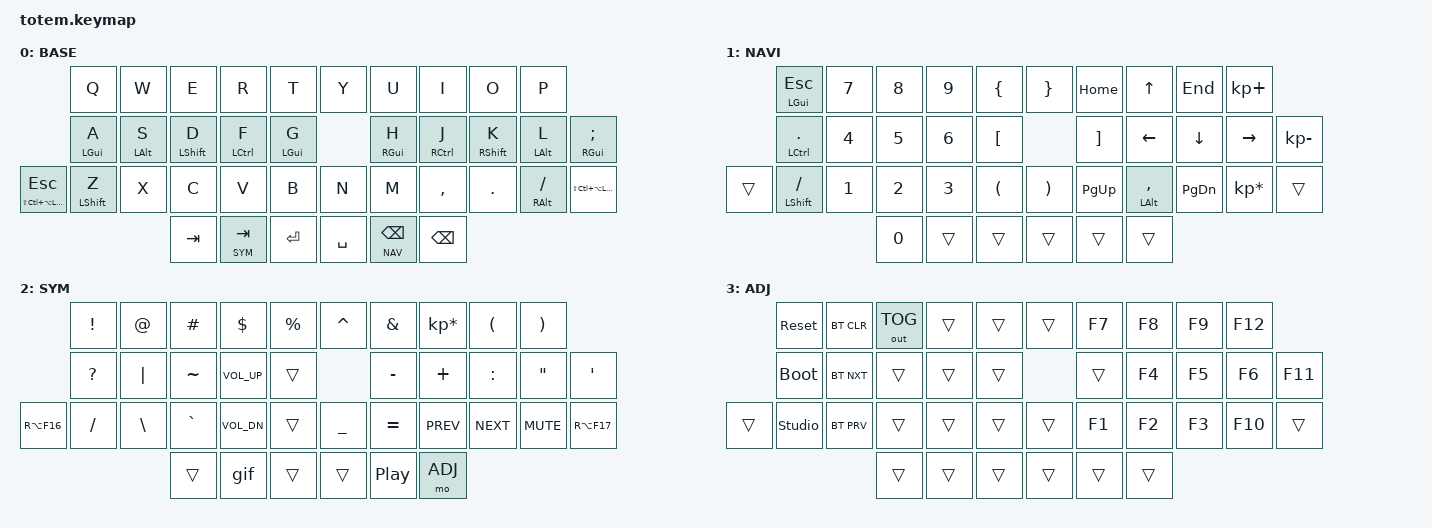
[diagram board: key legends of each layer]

       

#include <behaviors.dtsi>
#include <dt-bindings/zmk/keys.h>
#include <dt-bindings/zmk/bt.h>
#include <dt-bindings/zmk/outputs.h>

#define BASE 0
#define NAV  1
#define SYM  2
#define ADJ  3
// Hyper key shortcut
#define LHYP LS(LC(LA(LGUI)))

#define KEYS_L 0 1 2 3 4 10 11 12 13 14 20 21 22 23 24 25
#define KEYS_R 5 6 7 8 9 15 16 17 18 19 26 27 28 29 30 31
#define THUMBS 32 33 34 35 36 37

&mt {
  quick-tap-ms = <100>;
  global-quick-tap;
  flavor = "tap-preferred";
  tapping-term-ms = <170>;
};

// For layer-tap, to handle repeated taps (e.g. hold BSPC):
&lt {
    quick-tap-ms = <200>;
};
//&mt {
//    quick-tap-ms = <200>;
//};

&sk {
    release-after-ms = <2000>;
};


/ {
    behaviors {
        mtt:mod_tap_to {
            compatible = "zmk,behavior-hold-tap";
            label = "MOD_TAP_TO";
            #binding-cells = <2>;
            flavor = "balanced";
            tapping-term-ms = <200>;
            quick-tap-ms = <0>;
            bindings = <&kp>, <&to>;
        };
        mlt:momentary_layer_tap_to {
            compatible = "zmk,behavior-hold-tap";
            label="MOMENTARY_LAYER_TAP_TO";
            #binding-cells = <2>;
            flavor = "balanced";
            tapping-term-ms = <200>;
            quick-tap-ms = <0>;
            bindings = <&mo>, <&to>;
        };
        hml:home_row_mod_left {
            compatible = "zmk,behavior-hold-tap";
            flavor = "balanced";
            #binding-cells = <2>;
            tapping-term-ms = <280>;
            quick-tap-ms = <200>;
            require-prior-idle-ms = <120>;
            bindings = <&kp>, <&kp>;
            hold-trigger-key-positions = <KEYS_R THUMBS>;
            hold-trigger-on-release;
        };
        hmr:home_row_mod_right {
            compatible = "zmk,behavior-hold-tap";
            flavor = "balanced";
            #binding-cells = <2>;
            tapping-term-ms = <280>;
            quick-tap-ms = <200>;
            require-prior-idle-ms = <120>;
            bindings = <&kp>, <&kp>;
            hold-trigger-key-positions = <KEYS_L THUMBS>;
            hold-trigger-on-release;
        };

        nwin: swapper {
          compatible = "zmk,behavior-tri-state";
          #binding-cells = <0>;
          bindings = <&kt LGUI>, <&kp TAB>, <&kt LGUI>;
          ignored-key-positions = <KEYS_L>;
        };

    };
    combos {
            compatible = "zmk,combos";
            combo_esc {
                timeout-ms = <50>;
                key-positions = <0 1>;
                bindings = <&kp ESC>;
            };
    };

    macros {
        gif: gif {
            label = "giphy";
            compatible = "zmk,behavior-macro";
            #binding-cells = <0>;
            bindings
                = <&macro_press &kp LSHFT>
                , <&macro_tap &kp N2>
                , <&macro_release &kp LSHFT>
                , <&macro_tap &kp G &kp I &kp F>
                ;
        };
    };

        keymap {
                compatible = "zmk,keymap";
// ▄▄▄▄▄▄▄▄▄▄▄▄▄▄▄▄▄▄▄▄▄▄▄▄▄▄▄▄▄▄▄▄▄▄▄▄▄▄▄▄▄▄▄▄▄▄▄▄▄▄▄▄▄▄▄▄▄▄▄▄▄▄▄▄▄▄▄▄▄▄▄▄▄▄▄▄▄▄▄▄▄▄▄▄▄▄▄▄▄▄▄▄▄▄▄▄▄▄▄▄▄▄▄▄▄▄▄▄▄▄▄▄▄▄▄▄▄▄▄▄▄▄▄▄▄▄▄▄▄▄▄▄▄▄▄▄▄▄▄▄▄▄▄▄▄▄▄▄▄

                base_layer {
// ┏━━━━━━━━━━━━━━━━━━━━━━━━━━━━━━━━━━━━━━━┓
label= "BASE"                              ;
// ┗━━━━━━━━━━━━━━━━━━━━━━━━━━━━━━━━━━━━━━━┛
//             ┏━━━━━━━━━━━┳━━━━━━━━━━━┳━━━━━━━━━━━┳━━━━━━━━━━━┳━━━━━━━━━━━┓   ┏━━━━━━━━━━━┳━━━━━━━━━━━┳━━━━━━━━━━━┳━━━━━━━━━━━┳━━━━━━━━━━━┓
//             ┃     Q     ┃     W     ┃     F     ┃     P     ┃     G     ┃   ┃     J     ┃     L     ┃     U     ┃     Y     ┃     ;     ┃
//             ┣━━━━━━━━━━━╋━━━━━━━━━━━╋━━━━━━━━━━━╋━━━━━━━━━━━╋━━━━━━━━━━━┫   ┣━━━━━━━━━━━╋━━━━━━━━━━━╋━━━━━━━━━━━╋━━━━━━━━━━━╋━━━━━━━━━━━┫
//             ┃     A     ┃     R     ┃     S     ┃     T     ┃     D     ┃   ┃     H     ┃     N     ┃     E     ┃     I     ┃     O     ┃
// ┏━━━━━━━━━━━╋━━━━━━━━━━━╋━━━━━━━━━━━╋━━━━━━━━━━━╋━━━━━━━━━━━╋━━━━━━━━━━━┫   ┣━━━━━━━━━━━╋━━━━━━━━━━━╋━━━━━━━━━━━╋━━━━━━━━━━━╋━━━━━━━━━━━╋━━━━━━━━━━━┓
// ┃           ┃     Z     ┃     X     ┃     C     ┃     V     ┃     B     ┃   ┃     K     ┃     M     ┃     ,     ┃     .     ┃     /     ┃           ┃
// ┗━━━━━━━━━━━┻━━━━━━━━━━━┻━━━━━━━━━━━╋━━━━━━━━━━━╋━━━━━━━━━━━╋━━━━━━━━━━━┫   ┣━━━━━━━━━━━╋━━━━━━━━━━━╋━━━━━━━━━━━╋━━━━━━━━━━━┻━━━━━━━━━━━┻━━━━━━━━━━━┛
//                                     ┃           ┃    TAB    ┃    SPC    ┃   ┃   ENTER   ┃   BSPC    ┃           ┃
//                                     ┗━━━━━━━━━━━┻━━━━━━━━━━━┻━━━━━━━━━━━┛   ┗━━━━━━━━━━━┻━━━━━━━━━━━┻━━━━━━━━━━━┛
 bindings = <
// ╷           ╷           ╷           ╷           ╷           ╷           ╷   ╷           ╷           ╷           ╷           ╷           ╷           ╷

                &kp Q       &kp W       &kp E       &kp R       &kp T           &kp Y       &kp U       &kp I       &kp O       &kp P
                &hml LGUI A  &hml LALT S  &hml LSHFT D &hml LCTRL F &hml LGUI G      &hmr RGUI H  &hmr RCTRL J &hmr RSHFT K &hmr LALT L  &hmr RGUI SEMI
  &mt LHYP ESC  &mt LSHFT Z &kp X       &kp C       &kp V       &kp B           &kp N       &kp M       &kp COMMA   &kp DOT     &mt RALT FSLH    &kp LHYP
                                        &kp TAB     &lt SYM TAB &kp RET         &kp SPACE   &lt NAV BSPC    &kp BSPC
                        >;
                };

// ▄▄▄▄▄▄▄▄▄▄▄▄▄▄▄▄▄▄▄▄▄▄▄▄▄▄▄▄▄▄▄▄▄▄▄▄▄▄▄▄▄▄▄▄▄▄▄▄▄▄▄▄▄▄▄▄▄▄▄▄▄▄▄▄▄▄▄▄▄▄▄▄▄▄▄▄▄▄▄▄▄▄▄▄▄▄▄▄▄▄▄▄▄▄▄▄▄▄▄▄▄▄▄▄▄▄▄▄▄▄▄▄▄▄▄▄▄▄▄▄▄▄▄▄▄▄▄▄▄▄▄▄▄▄▄▄▄▄▄▄▄▄▄▄▄▄▄▄▄


                nav_layer {
// ┏━━━━━━━━━━━━━━━━━━━━━━━━━━━━━━━━━━━━━━━┓
label= "NAVI"                              ;
// ┗━━━━━━━━━━━━━━━━━━━━━━━━━━━━━━━━━━━━━━━┛
//             ┏━━━━━━━━━━━┳━━━━━━━━━━━┳━━━━━━━━━━━┳━━━━━━━━━━━┳━━━━━━━━━━━┓   ┏━━━━━━━━━━━┳━━━━━━━━━━━┳━━━━━━━━━━━┳━━━━━━━━━━━┳━━━━━━━━━━━┓
//             ┃   ESC     ┃    7      ┃      8    ┃     9     ┃     {     ┃   ┃     }     ┃   HOME    ┃     UP    ┃    END    ┃     +     ┃
//             ┣━━━━━━━━━━━╋━━━━━━━━━━━╋━━━━━━━━━━━╋━━━━━━━━━━━╋━━━━━━━━━━━┫   ┣━━━━━━━━━━━╋━━━━━━━━━━━╋━━━━━━━━━━━╋━━━━━━━━━━━╋━━━━━━━━━━━┫
//             ┃   CTRL    ┃    4      ┃      5    ┃     6     ┃     [     ┃   ┃     ]     ┃   LEFT    ┃   DOWN    ┃   RIGHT   ┃     -     ┃
// ┏━━━━━━━━━━━╋━━━━━━━━━━━╋━━━━━━━━━━━╋━━━━━━━━━━━╋━━━━━━━━━━━╋━━━━━━━━━━━┫   ┣━━━━━━━━━━━╋━━━━━━━━━━━╋━━━━━━━━━━━╋━━━━━━━━━━━╋━━━━━━━━━━━╋━━━━━━━━━━━┓
// ┃           ┃   SHIFT   ┃    1      ┃      2    ┃     3     ┃     (     ┃   ┃     )     ┃   P UP    ┃     2     ┃   P DN    ┃     *     ┃           ┃
// ┗━━━━━━━━━━━┻━━━━━━━━━━━┻━━━━━━━━━━━╋━━━━━━━━━━━╋━━━━━━━━━━━╋━━━━━━━━━━━┫   ┣━━━━━━━━━━━╋━━━━━━━━━━━╋━━━━━━━━━━━╋━━━━━━━━━━━┻━━━━━━━━━━━┻━━━━━━━━━━━┛
//                                     ┃      0    ┃    TAB    ┃    RET    ┃   ┃           ┃           ┃           ┃
//                                     ┗━━━━━━━━━━━┻━━━━━━━━━━━┻━━━━━━━━━━━┛   ┗━━━━━━━━━━━┻━━━━━━━━━━━┻━━━━━━━━━━━┛
 bindings = <
// ╷           ╷           ╷           ╷           ╷           ╷           ╷   ╷           ╷           ╷           ╷           ╷           ╷           ╷

                &mt LGUI ESC     &kp N7   &kp N8    &kp N9   &kp LBRC        &kp RBRC    &kp HOME   &kp UP   &kp END   &kp KP_PLUS
                &mt LCTRL DOT  &kp N4   &kp N5    &kp N6   &kp LBKT        &kp RBKT    &kp LEFT    &kp DOWN &kp RIGHT   &kp KP_MINUS
    &trans      &mt LSHFT FSLH    &kp N1   &kp N2    &kp N3   &kp LPAR        &kp RPAR    &kp PG_UP   &mt LALT COMMA   &kp PG_DN   &kp KP_MULTIPLY &trans      
                                        &kp N0      &trans      &trans        &trans     &trans   &trans      
                        >;
                };

// ▄▄▄▄▄▄▄▄▄▄▄▄▄▄▄▄▄▄▄▄▄▄▄▄▄▄▄▄▄▄▄▄▄▄▄▄▄▄▄▄▄▄▄▄▄▄▄▄▄▄▄▄▄▄▄▄▄▄▄▄▄▄▄▄▄▄▄▄▄▄▄▄▄▄▄▄▄▄▄▄▄▄▄▄▄▄▄▄▄▄▄▄▄▄▄▄▄▄▄▄▄▄▄▄▄▄▄▄▄▄▄▄▄▄▄▄▄▄▄▄▄▄▄▄▄▄▄▄▄▄▄▄▄▄▄▄▄▄▄▄▄▄▄▄▄▄▄▄▄


                sim_layer {
// ┏━━━━━━━━━━━━━━━━━━━━━━━━━━━━━━━━━━━━━━━┓
label= "SYM"                               ;
// ┗━━━━━━━━━━━━━━━━━━━━━━━━━━━━━━━━━━━━━━━┛
//             ┏━━━━━━━━━━━┳━━━━━━━━━━━┳━━━━━━━━━━━┳━━━━━━━━━━━┳━━━━━━━━━━━┓   ┏━━━━━━━━━━━┳━━━━━━━━━━━┳━━━━━━━━━━━┳━━━━━━━━━━━┳━━━━━━━━━━━┓
//             ┃     !     ┃     @     ┃     #     ┃     $     ┃     %     ┃   ┃     ˆ     ┃     &     ┃     Ü     ┃     '     ┃     "     ┃
//             ┣━━━━━━━━━━━╋━━━━━━━━━━━╋━━━━━━━━━━━╋━━━━━━━━━━━╋━━━━━━━━━━━┫   ┣━━━━━━━━━━━╋━━━━━━━━━━━╋━━━━━━━━━━━╋━━━━━━━━━━━╋━━━━━━━━━━━┫
//             ┃     Ä     ┃           ┃    SZ     ┃           ┃           ┃   ┃   MUTE    ┃   YEN     ┃   EURO    ┃  POUND    ┃     Ö     ┃
// ┏━━━━━━━━━━━╋━━━━━━━━━━━╋━━━━━━━━━━━╋━━━━━━━━━━━╋━━━━━━━━━━━╋━━━━━━━━━━━┫   ┣━━━━━━━━━━━╋━━━━━━━━━━━╋━━━━━━━━━━━╋━━━━━━━━━━━╋━━━━━━━━━━━╋━━━━━━━━━━━┓
// ┃           ┃  EMAIL1   ┃  EMAIL2   ┃           ┃           ┃           ┃   ┃   VOL-    ┃   VOL+    ┃   LAST    ┃   NEXT    ┃     \     ┃           ┃
// ┗━━━━━━━━━━━┻━━━━━━━━━━━┻━━━━━━━━━━━╋━━━━━━━━━━━╋━━━━━━━━━━━╋━━━━━━━━━━━┫   ┣━━━━━━━━━━━╋━━━━━━━━━━━╋━━━━━━━━━━━╋━━━━━━━━━━━┻━━━━━━━━━━━┻━━━━━━━━━━━┛
//                                     ┃           ┃    GIF    ┃    ADJ    ┃   ┃           ┃           ┃           ┃
//                                     ┗━━━━━━━━━━━┻━━━━━━━━━━━┻━━━━━━━━━━━┛   ┗━━━━━━━━━━━┻━━━━━━━━━━━┻━━━━━━━━━━━┛
 bindings = <
// ╷           ╷           ╷           ╷           ╷           ╷           ╷   ╷           ╷           ╷           ╷           ╷           ╷           ╷

                &kp EXCL    &kp AT      &kp HASH    &kp DLLR    &kp PRCNT       &kp CARET   &kp AMPS    &kp KP_MULTIPLY  &kp LPAR     &kp RPAR       
                &kp QMARK   &kp PIPE    &kp TILDE   &kp K_VOL_UP  &trans          &kp MINUS   &kp PLUS  &kp COLON &kp DQT   &kp SQT 
    &kp RA(F16) &kp FSLH &kp BSLH    &kp GRAVE   &kp K_VOL_DN     &trans             &kp UNDER   &kp EQUAL &kp C_PREV &kp C_NEXT  &kp K_MUTE    &kp RA(F17)      
                                        &trans      &gif        &trans          &trans       &kp C_PP    &mo ADJ      
                        >;
                };

// ▄▄▄▄▄▄▄▄▄▄▄▄▄▄▄▄▄▄▄▄▄▄▄▄▄▄▄▄▄▄▄▄▄▄▄▄▄▄▄▄▄▄▄▄▄▄▄▄▄▄▄▄▄▄▄▄▄▄▄▄▄▄▄▄▄▄▄▄▄▄▄▄▄▄▄▄▄▄▄▄▄▄▄▄▄▄▄▄▄▄▄▄▄▄▄▄▄▄▄▄▄▄▄▄▄▄▄▄▄▄▄▄▄▄▄▄▄▄▄▄▄▄▄▄▄▄▄▄▄▄▄▄▄▄▄▄▄▄▄▄▄▄▄▄▄▄▄▄▄


                adjust_layer {
// ┏━━━━━━━━━━━━━━━━━━━━━━━━━━━━━━━━━━━━━━━┓
label= "ADJ"                               ;
// ┗━━━━━━━━━━━━━━━━━━━━━━━━━━━━━━━━━━━━━━━┛
//             ┏━━━━━━━━━━━┳━━━━━━━━━━━┳━━━━━━━━━━━┳━━━━━━━━━━━┳━━━━━━━━━━━┓   ┏━━━━━━━━━━━┳━━━━━━━━━━━┳━━━━━━━━━━━┳━━━━━━━━━━━┳━━━━━━━━━━━┓
//             ┃   RESET   ┃ BT CLEAR  ┃  OUT TOG  ┃           ┃           ┃   ┃           ┃    F7     ┃    F8     ┃    F9     ┃    F12    ┃
//             ┣━━━━━━━━━━━╋━━━━━━━━━━━╋━━━━━━━━━━━╋━━━━━━━━━━━╋━━━━━━━━━━━┫   ┣━━━━━━━━━━━╋━━━━━━━━━━━╋━━━━━━━━━━━╋━━━━━━━━━━━╋━━━━━━━━━━━┫
//             ┃ BOOTLOAD  ┃ BT NEXT   ┃           ┃           ┃           ┃   ┃           ┃    F4     ┃    F5     ┃    F6     ┃    F11    ┃
// ┏━━━━━━━━━━━╋━━━━━━━━━━━╋━━━━━━━━━━━╋━━━━━━━━━━━╋━━━━━━━━━━━╋━━━━━━━━━━━┫   ┣━━━━━━━━━━━╋━━━━━━━━━━━╋━━━━━━━━━━━╋━━━━━━━━━━━╋━━━━━━━━━━━╋━━━━━━━━━━━┓
// ┃           ┃           ┃ BT PREV   ┃           ┃           ┃           ┃   ┃           ┃    F1     ┃    F2     ┃    F3     ┃    F10    ┃           ┃
// ┗━━━━━━━━━━━┻━━━━━━━━━━━┻━━━━━━━━━━━╋━━━━━━━━━━━╋━━━━━━━━━━━╋━━━━━━━━━━━┫   ┣━━━━━━━━━━━╋━━━━━━━━━━━╋━━━━━━━━━━━╋━━━━━━━━━━━┻━━━━━━━━━━━┻━━━━━━━━━━━┛
//                                     ┃           ┃           ┃           ┃   ┃           ┃           ┃           ┃
//                                     ┗━━━━━━━━━━━┻━━━━━━━━━━━┻━━━━━━━━━━━┛   ┗━━━━━━━━━━━┻━━━━━━━━━━━┻━━━━━━━━━━━┛
 bindings = <
// ╷           ╷           ╷           ╷           ╷           ╷           ╷   ╷           ╷           ╷           ╷           ╷           ╷           ╷

                &sys_reset  &bt BT_CLR &out OUT_TOG &trans      &trans          &trans      &kp F7      &kp F8      &kp F9      &kp F12
                &bootloader &bt BT_NXT  &trans      &trans      &trans          &trans      &kp F4      &kp F5      &kp F6      &kp F11  
    &trans      &studio_unlock      &bt BT_PRV  &trans      &trans      &trans          &trans      &kp F1      &kp F2      &kp F3      &kp F10     &trans         
                                        &trans      &trans      &trans          &trans      &trans      &trans      
                        >;
                };
        };
};
